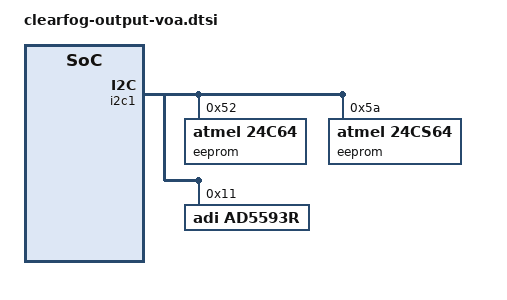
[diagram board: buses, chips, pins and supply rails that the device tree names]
#include <dt-bindings/iio/adi,ad5592r.h>

&i2c1 {
	// 24CSxx is treated as two separate devices
	eeprom@52 {
		compatible = "atmel,24c64";
		reg = <0x52>;
	};
	eeprom@5a {
		compatible = "atmel,24cs64";
		reg = <0x5a>;
	};

	ad5593r@11 {
		#size-cells = <0>;
		#address-cells = <1>;
		#gpio-cells = <2>;
		compatible = "adi,ad5593r";
		reg = <0x11>;
		gpio-controller;

		gpio-line-names =
			"VOA0_DAC",
			"VOA1_DAC",
			"SWITCH1_ON",
			"SWITCH2_ON",
			"ST1_34",
			"ST1_78",
			"ST2_34",
			"ST2_78"
			;

		channel@0 {
			reg = <0>;
			adi,mode = <CH_MODE_DAC_AND_ADC>;
			adi,off-state = <CH_OFFSTATE_PULLDOWN>;
		};

		channel@1 {
			reg = <1>;
			adi,mode = <CH_MODE_DAC_AND_ADC>;
			adi,off-state = <CH_OFFSTATE_PULLDOWN>;
		};

		channel@2 {
			reg = <2>;
			adi,mode = <CH_MODE_GPIO>;
			adi,off-state = <CH_OFFSTATE_PULLDOWN>;
		};

		channel@3 {
			reg = <3>;
			adi,mode = <CH_MODE_GPIO>;
			adi,off-state = <CH_OFFSTATE_PULLDOWN>;
		};

		channel@4 {
			reg = <4>;
			adi,mode = <CH_MODE_GPIO>;
			adi,off-state = <CH_OFFSTATE_OUT_TRISTATE>;
		};

		channel@5 {
			reg = <5>;
			adi,mode = <CH_MODE_GPIO>;
			adi,off-state = <CH_OFFSTATE_OUT_TRISTATE>;
		};

		channel@6 {
			reg = <6>;
			adi,mode = <CH_MODE_GPIO>;
			adi,off-state = <CH_OFFSTATE_OUT_TRISTATE>;
		};

		channel@7 {
			reg = <7>;
			adi,mode = <CH_MODE_GPIO>;
			adi,off-state = <CH_OFFSTATE_OUT_TRISTATE>;
		};
	};
};
